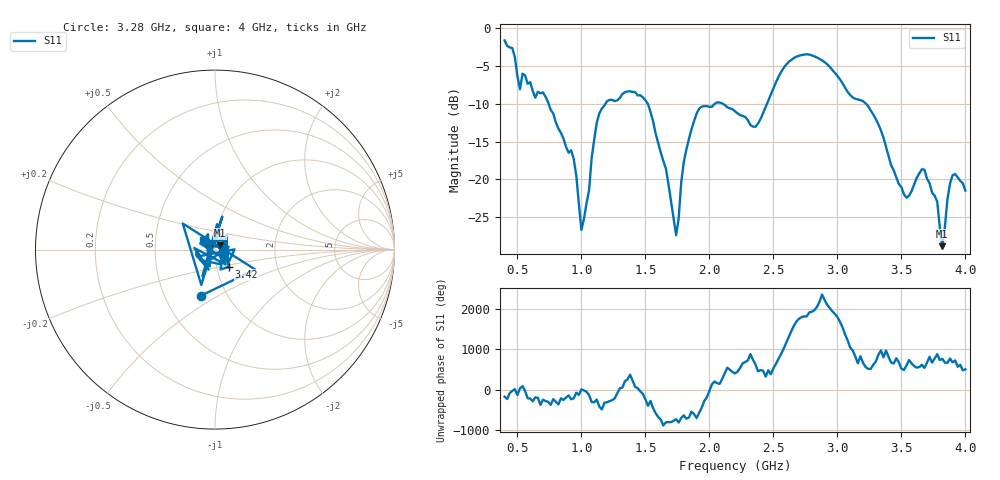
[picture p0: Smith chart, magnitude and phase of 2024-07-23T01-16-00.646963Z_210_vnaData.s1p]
!Created with skrf (http://scikit-rf.org).
# Hz S RI R 50.0
!freq ReS11 ImS11
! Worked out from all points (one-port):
!   181 points, 400 MHz to 4 GHz, reference 50 ohm
!   lowest |S11| = -28.8 dB at 3.82 GHz (marker M1), VSWR 1.07, Z = 52.8 + j2.45 ohm
!   |S11| at or under -10 dB: 743.9 MHz to 1.188 GHz (444 MHz wide, 46 % of centre); 1.519 GHz to 2.043 GHz (523.7 MHz wide, 29.4 % of centre); 3.224 GHz to end of sweep (the widest 3 of 4)
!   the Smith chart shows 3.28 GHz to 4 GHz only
!   S11 on the Smith chart (normalised r, x): 3.28 GHz: 0.75, -0.42; 3.42 GHz: 1.15, -0.22; 4 GHz: 0.87, +0.09
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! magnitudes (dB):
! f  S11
! 400 MHz  -1.6
! 460 MHz  -2.6
! 520 MHz  -8.1
! 700 MHz  -8.5
! 860 MHz  -14.6
! 940 MHz  -17.3
! 1 GHz  -26.7
! 1.14 GHz  -11.3
! 1.3 GHz  -9.2
! 1.52 GHz  -10.0
! 1.66 GHz  -18.5
! 1.74 GHz  -27.4
! 1.76 GHz  -25.2
! 1.8 GHz  -17.7
! 1.92 GHz  -10.6
! 2.2 GHz  -11.0
! 2.36 GHz  -13.0
! 2.66 GHz  -3.9
! 2.88 GHz  -4.2
! 3.1 GHz  -8.8
! 3.28 GHz  -11.4
! 3.42 GHz  -18.2
! 3.56 GHz  -22.2
! 3.68 GHz  -18.7
! 3.78 GHz  -23.0
! 3.82 GHz  -28.8
! 3.9 GHz  -19.5
! 4 GHz  -21.5
